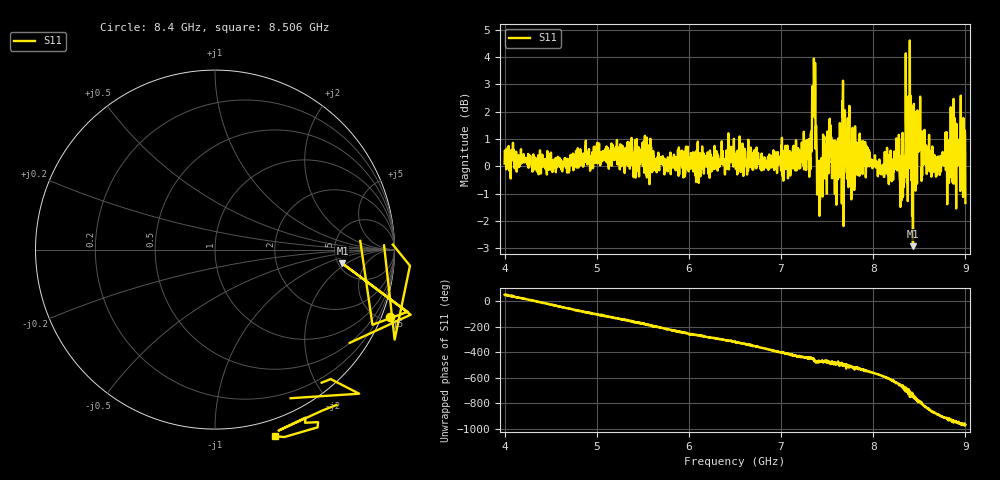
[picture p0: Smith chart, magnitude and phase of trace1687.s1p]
! Created with skrf 1.8.0 (http://scikit-rf.org).
# Hz S RI R 50.0
!freq ReS11 ImS11
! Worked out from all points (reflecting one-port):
!   1601 points, 4 GHz to 9 GHz, reference 50 ohm
!   lowest |S11| = -2.9 dB at 8.431 GHz (marker M1), VSWR 6.00, Z = 272 - j85.9 ohm
!   phase of S11 starts at 52 deg and turns -1020 deg over the sweep
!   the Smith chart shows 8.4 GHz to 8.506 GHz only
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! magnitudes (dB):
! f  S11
! 4 GHz  0.1
! 4.625 GHz  -0.2
! 5.25 GHz  -0.1
! 5.875 GHz  0.3
! 6.5 GHz  0.4
! 7.125 GHz  0.3
! 7.294 GHz  0.4
! 7.309 GHz  1.0
! 7.347 GHz  2.2
! 7.356 GHz  4.0
! 7.412 GHz  0.2
! 7.525 GHz  1.6
! 7.578 GHz  0.9
! 7.688 GHz  2.0
! 7.703 GHz  0.4
! 7.75 GHz  -0.2
! 7.775 GHz  1.4
! 7.844 GHz  0.9
! 8.097 GHz  0.0
! 8.222 GHz  -0.2
! 8.253 GHz  0.4
! 8.309 GHz  0.0
! 8.375 GHz  -1.3
! 8.431 GHz  -2.9
! 8.497 GHz  1.0
! 8.697 GHz  -0.1
! 8.972 GHz  0.7
! 9 GHz  -1.3
